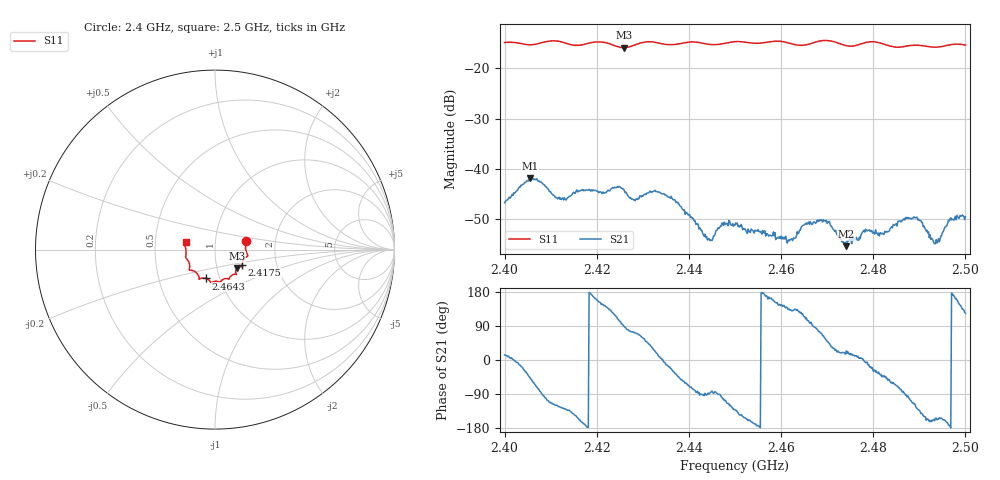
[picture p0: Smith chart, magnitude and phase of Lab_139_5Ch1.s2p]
# Hz S RI R 50
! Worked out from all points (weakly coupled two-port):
!   601 points, 2.4 GHz to 2.5 GHz, reference 50 ohm
!   highest |S21| = -41.86 dB at 2.4055 GHz (marker M1); lowest = -55.3 dB at 2.4742 GHz (marker M2)
!   lowest |S11| = -15.9 dB at 2.4258 GHz (marker M3), VSWR 1.38, Z = 62.3 - j13.2 ohm
!   |S11| at or under -10 dB: start of sweep to end of sweep
!   S12 and S22 are empty: the file has one direction only
!   S11 on the Smith chart (normalised r, x): 2.4 GHz: 1.41, +0.14; 2.4175 GHz: 1.34, -0.23; 2.4643 GHz: 0.86, -0.29; 2.5 GHz: 0.72, +0.06
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2.4e9  0.1727 0.0488  0.00449 0.00108  0 0  0 0
2.4055e9  0.1702 0.00824  0.00557 -0.00583  0 0  0 0
2.411833e9  0.1807 -0.037  -0.00285 -0.0044  0 0  0 0
2.416667e9  0.1529 -0.0741  -0.00593 -0.00181  0 0  0 0
2.4175e9  0.1518 -0.0836  -0.00604 -0.000899  0 0  0 0
2.425833e9  0.1218 -0.1031  2.84e-05 0.0063  0 0  0 0
2.428e9  0.1147 -0.1233  0.00144 0.00472  0 0  0 0
2.433333e9  0.1131 -0.1374  0.00576 0.00118  0 0  0 0
2.437333e9  0.0852 -0.1502  0.00367 -0.00296  0 0  0 0
2.4445e9  0.0598 -0.1612  8.21e-05 -0.00195  0 0  0 0
2.447167e9  0.0394 -0.1695  -0.000424 -0.00289  0 0  0 0
2.45e9  0.0289 -0.181  -0.00183 -0.00208  0 0  0 0
2.461667e9  -0.0287 -0.1749  -0.00137 0.00143  0 0  0 0
2.464333e9  -0.0498 -0.1609  -0.00153 0.00213  0 0  0 0
2.466667e9  -0.0759 -0.1592  -0.000211 0.0028  0 0  0 0
2.47e9  -0.0883 -0.166  0.00188 0.00218  0 0  0 0
2.474167e9  -0.0986 -0.1347  0.00156 0.0007  0 0  0 0
2.483333e9  -0.1409 -0.0901  0.00151 -0.00186  0 0  0 0
2.489e9  -0.1627 -0.0451  -0.00143 -0.00296  0 0  0 0
2.4935e9  -0.1612 -0.00817  -0.00163 -0.00081  0 0  0 0
2.496667e9  -0.1687 0.0248  -0.0032 -0.000296  0 0  0 0
2.5e9  -0.1638 0.0431  -0.00186 0.0028  0 0  0 0
